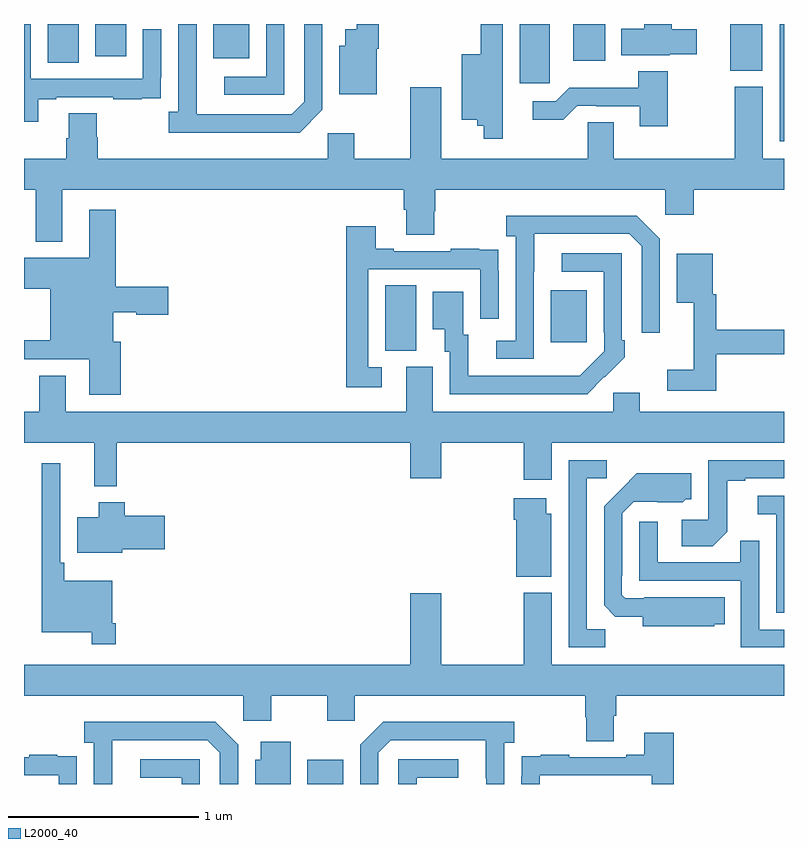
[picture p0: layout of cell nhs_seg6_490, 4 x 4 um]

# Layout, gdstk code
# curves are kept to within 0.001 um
import gdstk
lib = gdstk.Library(unit=1e-6, precision=1e-09)
def R(c, l, rs):  # rectangles x0, y0, x1, y1
    for r in rs: c.add(gdstk.rectangle(r[:2], r[2:], *l))
def P(c, l, *ps):  # polygons
    for p in ps: c.add(gdstk.Polygon(p, *l))
L2000_40 = (2000, 40)

nhs_seg6_490 = lib.new_cell('nhs_seg6_490')
R(nhs_seg6_490, L2000_40, [(140.492,985.5,140.68,985.627), (140.9,987.781,141.064,988.124), (141.773,987.825,141.961,988.099), (142.977,988.884,143,989.5), (141.608,989.187,141.766,989.5), (142.718,989.255,142.885,989.5), (139.124,989.296,139.288,989.5), (141.89,989.307,142.059,989.5), (139.997,989.321,140.185,989.5), (139.376,989.331,139.537,989.5)])
P(nhs_seg6_490, L2000_40, [(141.519,989.5),(141.403,989.5),(141.403,989.341),(141.305,989.341),(141.305,988.997),(141.386,988.997),(141.386,988.964),(141.421,988.964),(141.421,988.896),(141.519,988.896)],
  [(140.571,989.049),(140.571,989.5),(140.475,989.5),(140.475,989.091),(140.409,989.025),(139.909,989.025),(139.908,989.5),(139.812,989.5),(139.812,989.038),(139.761,989.038),(139.761,988.928),(140.45,988.928)],
  [(140.856,989.369),(140.867,989.369),(140.867,989.5),(140.75,989.5),(140.75,989.473),(140.69,989.473),(140.69,989.386),(140.66,989.386),(140.66,989.129),(140.856,989.129)],
  [(139.075,989.103),(139.171,989.103),(139.171,989.115),(139.471,989.115),(139.471,989.103),(139.619,989.103),(139.619,989.109),(139.721,989.109),(139.721,989.218),(139.722,989.218),(139.722,989.473),(139.626,989.473),(139.626,989.211),(139.035,989.211),(139.035,989.5),(139,989.5),(139,988.986),(139.075,988.986)],
  [(142.398,989.342),(142.54,989.342),(142.54,989.472),(142.41,989.472),(142.41,989.5),(142.265,989.5),(142.265,989.474),(142.144,989.474),(142.144,989.336),(142.398,989.336)],
  [(140.37,989.5),(140.274,989.5),(140.274,989.223),(140.055,989.223),(140.055,989.127),(140.37,989.127)],
  [(142.389,989.251),(142.234,989.251),(142.234,989.165),(141.869,989.165),(141.798,989.094),(141.678,989.094),(141.678,988.997),(141.839,988.997),(141.912,989.07),(142.012,989.07),(142.012,989.067),(142.241,989.067),(142.241,988.962),(142.389,988.962)],
  [(139.201,988.628),(140.999,988.628),(140.999,988.522),(141.011,988.522),(141.011,988.39),(141.159,988.39),(141.159,988.515),(141.164,988.515),(141.164,988.628),(142.374,988.628),(142.374,988.497),(142.526,988.497),(142.526,988.628),(143,988.628),(143,988.792),(142.888,988.792),(142.888,989.17),(142.741,989.17),(142.741,988.792),(142.105,988.792),(142.105,988.982),(141.966,988.982),(141.966,988.792),(141.196,988.792),(141.196,989.167),(141.032,989.167),(141.032,988.792),(140.737,988.792),(140.737,988.924),(140.598,988.924),(140.598,988.792),(139.388,988.792),(139.388,988.905),(139.383,988.905),(139.383,989.03),(139.235,989.03),(139.235,988.898),(139.223,988.898),(139.223,988.792),(139,988.792),(139,988.628),(139.061,988.628),(139.061,988.355),(139.201,988.355)],
  [(139.508,987.828),(139.471,987.828),(139.471,987.983),(139.591,987.983),(139.591,987.971),(139.759,987.971),(139.759,988.118),(139.484,988.118),(139.484,988.522),(139.343,988.522),(139.343,988.27),(139,988.27),(139,988.106),(139.139,988.106),(139.139,987.836),(139,987.836),(139,987.735),(139.343,987.735),(139.343,987.549),(139.508,987.549)],
  [(141.684,988.195),(141.685,988.395),(142.185,988.395),(142.251,988.329),(142.251,987.876),(142.347,987.876),(142.347,988.371),(142.226,988.492),(141.537,988.492),(141.537,988.382),(141.588,988.382),(141.588,987.834),(141.486,987.834),(141.486,987.738),(141.684,987.738)],
  [(140.884,987.693),(140.811,987.693),(140.811,988.209),(141.402,988.209),(141.402,987.948),(141.498,987.948),(141.498,988.202),(141.497,988.202),(141.497,988.311),(141.395,988.311),(141.395,988.318),(141.247,988.318),(141.247,988.305),(140.947,988.305),(140.947,988.318),(140.851,988.318),(140.851,988.435),(140.695,988.435),(140.695,987.588),(140.884,987.588)],
  [(142.055,987.643),(142.056,987.642),(142.161,987.747),(142.161,987.835),(142.146,987.835),(142.146,988.293),(141.831,988.293),(141.831,988.197),(142.05,988.197),(142.05,987.877),(142.053,987.877),(142.053,987.777),(141.925,987.649),(141.337,987.648),(141.337,987.864),(141.313,987.864),(141.313,988.09),(141.152,988.09),(141.152,987.893),(141.215,987.893),(141.215,987.774),(141.24,987.774),(141.24,987.552),(141.964,987.552)],
  [(142.643,987.762),(143,987.762),(143,987.89),(142.643,987.89),(142.643,988.077),(142.624,988.077),(142.624,988.291),(142.436,988.291),(142.436,988.034),(142.526,988.034),(142.526,987.679),(142.386,987.679),(142.386,987.57),(142.643,987.57)],
  [(141.196,987.296),(141.631,987.296),(141.631,987.102),(141.778,987.102),(141.778,987.296),(143,987.296),(143,987.46),(142.24,987.46),(142.24,987.558),(142.101,987.558),(142.101,987.46),(141.151,987.46),(141.151,987.696),(141.011,987.696),(141.011,987.46),(139.219,987.46),(139.219,987.65),(139.079,987.65),(139.079,987.46),(139,987.46),(139,987.296),(139.37,987.296),(139.37,987.068),(139.487,987.068),(139.487,987.296),(141.032,987.296),(141.032,987.108),(141.196,987.108)],
  [(142.701,986.828),(142.701,987.096),(142.795,987.096),(142.795,987.108),(143,987.108),(143,987.204),(142.602,987.204),(142.602,986.892),(142.461,986.892),(142.461,986.752),(142.625,986.752)],
  [(142.059,986.315),(141.963,986.315),(141.963,987.108),(142.066,987.108),(142.066,987.204),(141.867,987.204),(141.867,986.22),(142.059,986.22)],
  [(139.484,986.347),(139.464,986.347),(139.464,986.569),(139.211,986.569),(139.211,986.665),(139.191,986.665),(139.191,987.187),(139.094,987.187),(139.094,986.3),(139.356,986.3),(139.356,986.235),(139.484,986.235)],
  [(142.632,986.342),(142.688,986.342),(142.688,986.482),(142.264,986.482),(142.264,986.478),(142.164,986.478),(142.146,986.496),(142.146,986.596),(142.149,986.596),(142.149,986.925),(142.209,986.985),(142.466,986.984),(142.482,987),(142.513,987),(142.513,987.136),(142.225,987.136),(142.053,986.962),(142.053,986.44),(142.112,986.381),(142.256,986.381),(142.256,986.33),(142.632,986.33)],
  [(143,987.018),(142.863,987.018),(142.863,986.921),(142.959,986.921),(142.959,986.401),(143,986.401)],
  [(141.775,986.922),(141.748,986.922),(141.748,987.004),(141.578,987.004),(141.578,986.891),(141.59,986.891),(141.59,986.591),(141.775,986.591)],
  [(139.516,986.735),(139.741,986.735),(139.741,986.913),(139.529,986.913),(139.529,986.983),(139.394,986.983),(139.394,986.905),(139.28,986.905),(139.28,986.717),(139.516,986.717)],
  [(143,986.313),(142.869,986.313),(142.869,986.78),(142.771,986.78),(142.771,986.667),(142.335,986.667),(142.335,986.881),(142.239,986.881),(142.239,986.571),(142.773,986.571),(142.773,986.22),(143,986.22)],
  [(142.105,985.858),(142.118,985.858),(142.118,985.964),(143,985.964),(143,986.128),(141.778,986.128),(141.778,986.506),(141.631,986.506),(141.631,986.128),(141.196,986.128),(141.196,986.503),(141.032,986.503),(141.032,986.128),(139,986.128),(139,985.964),(140.154,985.964),(140.154,985.833),(140.301,985.833),(140.301,985.964),(140.596,985.964),(140.596,985.833),(140.742,985.833),(140.742,985.964),(141.953,985.964),(141.953,985.851),(141.958,985.851),(141.958,985.726),(142.105,985.726)],
  [(139.464,985.531),(139.465,985.731),(139.965,985.731),(140.031,985.665),(140.031,985.5),(140.127,985.5),(140.127,985.707),(140.006,985.828),(139.317,985.828),(139.317,985.718),(139.368,985.718),(139.368,985.5),(139.464,985.5)],
  [(140.865,985.665),(140.931,985.731),(141.431,985.731),(141.432,985.5),(141.528,985.5),(141.528,985.718),(141.58,985.718),(141.58,985.828),(140.89,985.828),(140.769,985.707),(140.769,985.5),(140.865,985.5)],
  [(141.714,985.545),(142.305,985.545),(142.305,985.5),(142.421,985.5),(142.421,985.771),(142.265,985.771),(142.265,985.654),(142.169,985.654),(142.169,985.641),(141.869,985.641),(141.869,985.654),(141.721,985.654),(141.721,985.647),(141.619,985.647),(141.619,985.538),(141.618,985.538),(141.618,985.5),(141.714,985.5)],
  [(140.404,985.723),(140.246,985.723),(140.246,985.627),(140.216,985.627),(140.216,985.5),(140.404,985.5)],
  [(139.278,985.538),(139.277,985.538),(139.277,985.647),(139.175,985.647),(139.175,985.654),(139.027,985.654),(139.027,985.641),(139,985.641),(139,985.545),(139.182,985.545),(139.182,985.5),(139.278,985.5)],
  [(141.066,985.533),(141.286,985.533),(141.286,985.629),(140.97,985.629),(140.97,985.5),(141.066,985.5)],
  [(139.926,985.629),(139.611,985.629),(139.611,985.533),(139.83,985.533),(139.83,985.5),(139.926,985.5)])

lib.write_gds('nhs_seg6_490.gds')
